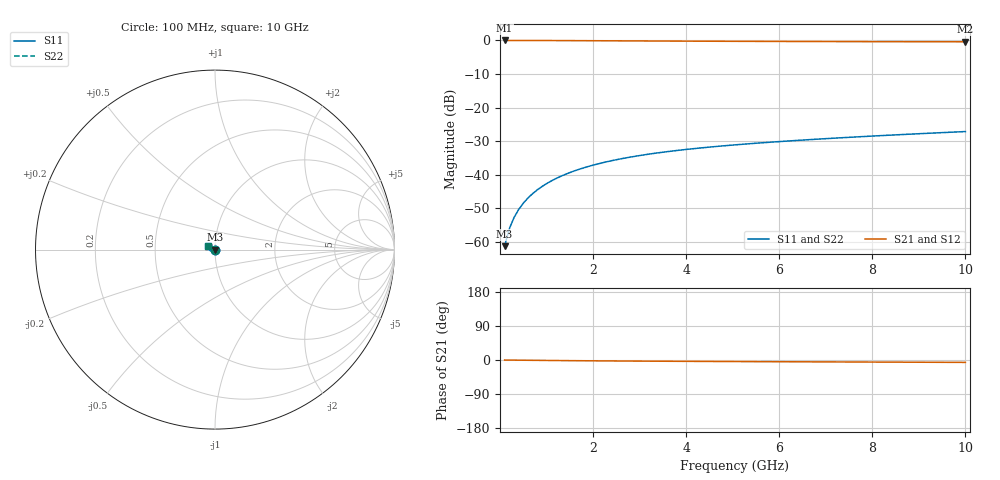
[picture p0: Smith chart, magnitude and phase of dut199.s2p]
! Touchstone file exported from HFSS 2024.1.0
!  File:  C:/UserFiles/LocalFiles/RDL_TSV_Batchsim/temp_TSV1_199_1779385695.aedt
!  Generated:  01:53:36 AM May 22, 2026
!  Design:  TSV1
!  Project:  temp_TSV1_199_1779385695
!  Setup:  Setup1
!  Solution:  Sweep
! Variables:
!  dtsv = 5.97um
!  hbump = 3um
!  htsv = 97.39um
!  lrdl = 252.1521522um
!  p = 40
!  p1 = 46.81um
!  t = 500um
!  trdl = 3um
!  wrdl = 24.89489489um
# GHz S MA R 50.000000
! Terminal data exported
! Port[1] = TSV22_T1
! Port[2] = TSV22_T2
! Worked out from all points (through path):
!   100 points, 100 MHz to 10 GHz, reference 50 ohm
!   highest |S21| = 0.00 dB at 100 MHz (marker M1); lowest = -0.4 dB at 10 GHz (marker M2)
!   lowest |S11| = -61.2 dB at 100 MHz (marker M3), VSWR 1.00, Z = 50 - j0.0758 ohm
!   |S11| at or under -10 dB: start of sweep to end of sweep
!   |S22| runs from -61.2 to -27.1 dB; largest |S21 - S12| = 3.1e-15
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0.1  0.0008693 -60.6  0.9995 -0.1  0.9995 -0.1  0.0008693 -60.6
! Gamma 0 0 0 0
! Port Impedance 50 0 50 0
0.2  0.001569 -77.1  0.9994 -0.2  0.9994 -0.2  0.001569 -77.1
0.3  0.002301 -84.6  0.9993 -0.4  0.9993 -0.4  0.002301 -84.6
0.4  0.00304 -89.4  0.9991 -0.5  0.9991 -0.5  0.00304 -89.4
0.5  0.003779 -93.2  0.9988 -0.6  0.9988 -0.6  0.003779 -93.2
0.6  0.004514 -96.3  0.9985 -0.7  0.9985 -0.7  0.004514 -96.3
0.7  0.005245 -99.1  0.9982 -0.8  0.9982 -0.8  0.005245 -99.1
0.8  0.00597 -101.7  0.9978 -0.9  0.9978 -0.9  0.00597 -101.7
0.9  0.006688 -104.2  0.9974 -1.1  0.9974 -1.1  0.006688 -104.2
1.1  0.008099 -108.8  0.9964 -1.3  0.9964 -1.3  0.008099 -108.8
1.4  0.01014 -115.1  0.9947 -1.6  0.9947 -1.6  0.01014 -115.1
1.6  0.01146 -119.1  0.9934 -1.8  0.9934 -1.8  0.01146 -119.1
1.8  0.01272 -123.0  0.992 -2.0  0.992 -2.0  0.01272 -123.0
2.1  0.01454 -128.5  0.9899 -2.2  0.9899 -2.2  0.01454 -128.5
2.5  0.0168 -135.4  0.9869 -2.6  0.9869 -2.6  0.0168 -135.4
2.9  0.01888 -141.9  0.9839 -2.9  0.9839 -2.9  0.01888 -141.9
3.4  0.02128 -149.3  0.9803 -3.2  0.9803 -3.2  0.02128 -149.3
4.2  0.0247 -160.0  0.9751 -3.7  0.9751 -3.7  0.0247 -160.0
5.1  0.02813 -170.4  0.9702 -4.1  0.9702 -4.1  0.02813 -170.4
6.7  0.03359 174.4  0.9635 -4.9  0.9635 -4.9  0.03359 174.4
8.4  0.03904 161.6  0.9586 -5.6  0.9586 -5.6  0.03904 161.6
10  0.04408 152.0  0.9553 -6.3  0.9553 -6.3  0.04407 152.0
